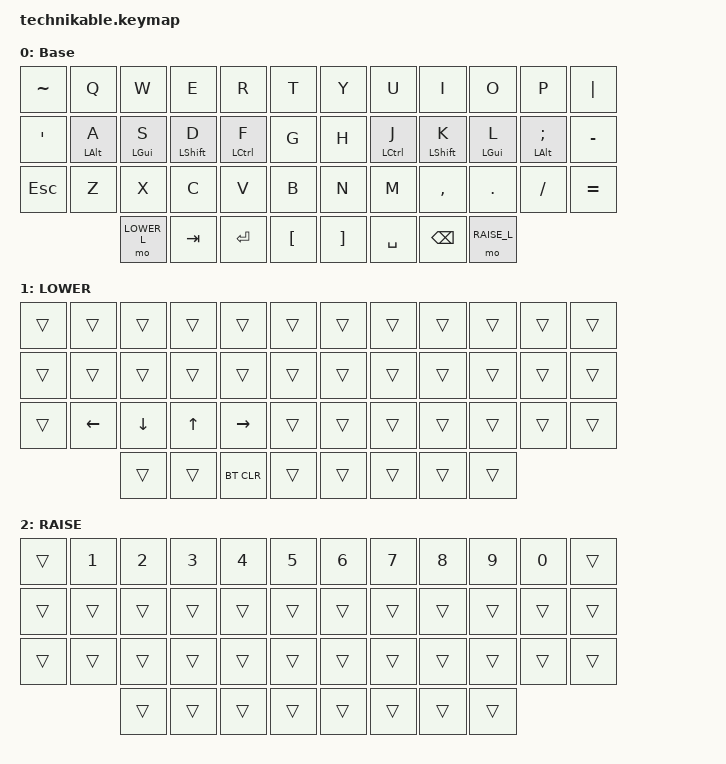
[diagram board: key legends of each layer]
/*
 * Copyright (c) 2022 Pete Johanson
 *
 * SPDX-License-Identifier: MIT
 * Keycodes are available at: https://zmk.dev/docs/
 */

#include <behaviors.dtsi>
#include <dt-bindings/zmk/keys.h>
#include <dt-bindings/zmk/bt.h>
#include <dt-bindings/zmk/outputs.h>

#define TBLE_ORTHO   true

#define BAS_L 0
#define LOWER_L 1
#define RAISE_L 2

/ {
    behaviors {
        hm: homerow_mods {
            compatible = "zmk,behavior-hold-tap";
            label = "homerow mods";
            #binding-cells = <2>;
            tapping_term_ms = <150>;
            flavor = "tap-preferred";
            bindings = <&kp>, <&kp>;
        };
    };

    keymap {
        compatible = "zmk,keymap";

        base_layer {
            label = "Base";
            bindings = <
 &kp TILDE  &kp Q      &kp W       &kp E       &kp R          &kp T          &kp Y            &kp U          &kp I          &kp O      &kp P         &kp PIPE
 &kp SQT    &hm LALT A &hm LGUI S  &hm LSHFT D &hm LCTRL F    &kp G          &kp H            &hm LCTRL J    &hm LSHFT K    &hm LGUI L &hm LALT SEMI      &kp MINUS
 &kp ESC    &kp Z      &kp X       &kp C       &kp V          &kp B          &kp N            &kp M          &kp COMMA      &kp DOT    &kp FSLH      &kp EQUAL
                       &mo LOWER_L &kp TAB     &kp ENTER      &kp LBKT       &kp RBKT         &kp SPACE      &kp BACKSPACE  &mo RAISE_L
            >;
        };
         lower_layer {
            label = "LOWER";
            bindings = <
 &trans     &trans     &trans     &trans      &trans         &trans         &trans           &trans         &trans      &trans     &trans        &trans
 &trans     &trans     &trans     &trans      &trans         &trans         &trans           &trans         &trans      &trans     &trans        &trans
 &trans     &kp LEFT   &kp DOWN   &kp UP      &kp RIGHT      &trans         &trans           &trans         &trans      &trans     &trans        &trans
                       &trans     &trans      &bt BT_CLR     &trans         &trans           &trans         &trans      &trans
            >;
        };
        raise_layer {
            label = "RAISE";
            bindings = <
 &trans     &kp N1     &kp N2     &kp N3      &kp N4         &kp N5         &kp N6           &kp N7         &kp N8      &kp N9     &kp N0        &trans
 &trans     &trans     &trans     &trans      &trans         &trans         &trans           &trans         &trans      &trans     &trans        &trans
 &trans     &trans     &trans     &trans      &trans         &trans         &trans           &trans         &trans      &trans     &trans        &trans
                       &trans     &trans      &trans         &trans         &trans           &trans         &trans      &trans
            >;
        };
    };
};

